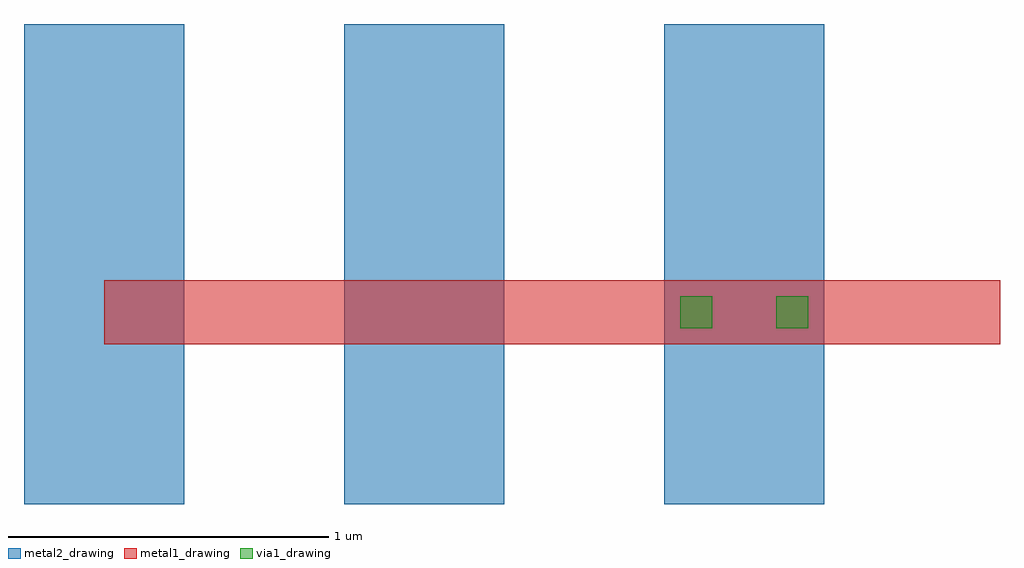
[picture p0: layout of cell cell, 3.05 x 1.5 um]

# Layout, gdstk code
import gdstk
lib = gdstk.Library(unit=1e-6, precision=1e-09)
def R(c, l, rs):  # rectangles x0, y0, x1, y1
    for r in rs: c.add(gdstk.rectangle(r[:2], r[2:], *l))
def A(c, l, x, y, w, h, nx, ny, dx, dy):  # array of equal rectangles
    R(c, l, [(x+i*dx, y+j*dy, x+i*dx+w, y+j*dy+h) for i in range(nx) for j in range(ny)])
metal1_drawing = (8, 0)
via1_drawing = (9, 0)
metal2_drawing = (10, 0)

cell = lib.new_cell('cell')
R(cell, metal1_drawing, [(0,0,1.2,0.2), (1,0,2.8,0.2), (1.75,0,2.25,0.2)])
R(cell, via1_drawing, [(1.8,0.05,1.9,0.15), (2.1,0.05,2.2,0.15)])
A(cell, metal2_drawing, -0.25, -0.5, 0.5, 1.5, 3, 1, 1, 0)
R(cell, metal2_drawing, [(1.75,0,2.25,0.2)])

lib.write_gds('cell.gds')
